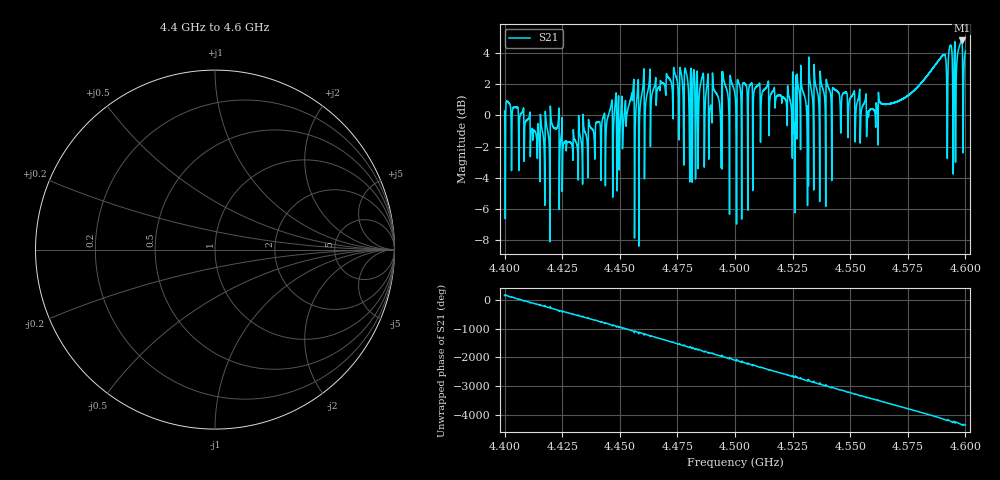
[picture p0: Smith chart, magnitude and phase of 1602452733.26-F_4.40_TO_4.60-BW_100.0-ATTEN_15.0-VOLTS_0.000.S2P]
!Keysight Technologies,E5063A,MY54502693,A.05.04
!Date: Mon Oct 12 06:47:10 2020
!Data & Calibration Information:
!Freq	S11:NONE(--)	S21:NONE(--)	S12:NONE(--)	S22:NONE(--)
# Hz S RI R 50
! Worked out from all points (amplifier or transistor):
!   10000 points, 4.4 GHz to 4.6 GHz, reference 50 ohm
!   highest |S21| = 4.8 dB at 4.5984 GHz (marker M1)
!   |S21| within 3 dB of that: 4.579157 GHz to 4.591902 GHz (12.74 MHz wide, 0.278 % of centre) (the widest 1 of 44)
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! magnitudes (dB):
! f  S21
! 4.4 GHz  0.3
! 4.4333 GHz  -1.8
! 4.4667 GHz  1.8
! 4.4789 GHz  2.7
! 4.4836 GHz  2.8
! 4.4854 GHz  2.3
! 4.4894 GHz  0.6
! 4.4988 GHz  2.0
! 4.5 GHz  1.4
! 4.5136 GHz  1.8
! 4.5252 GHz  2.5
! 4.5272 GHz  2.2
! 4.5309 GHz  0.6
! 4.5334 GHz  1.5
! 4.5667 GHz  0.7
! 4.5902 GHz  3.9
! 4.5919 GHz  2.1
! 4.5934 GHz  4.5
! 4.5953 GHz  4.6
! 4.5974 GHz  4.5
! 4.5984 GHz  4.8
! 4.6 GHz  4.1
